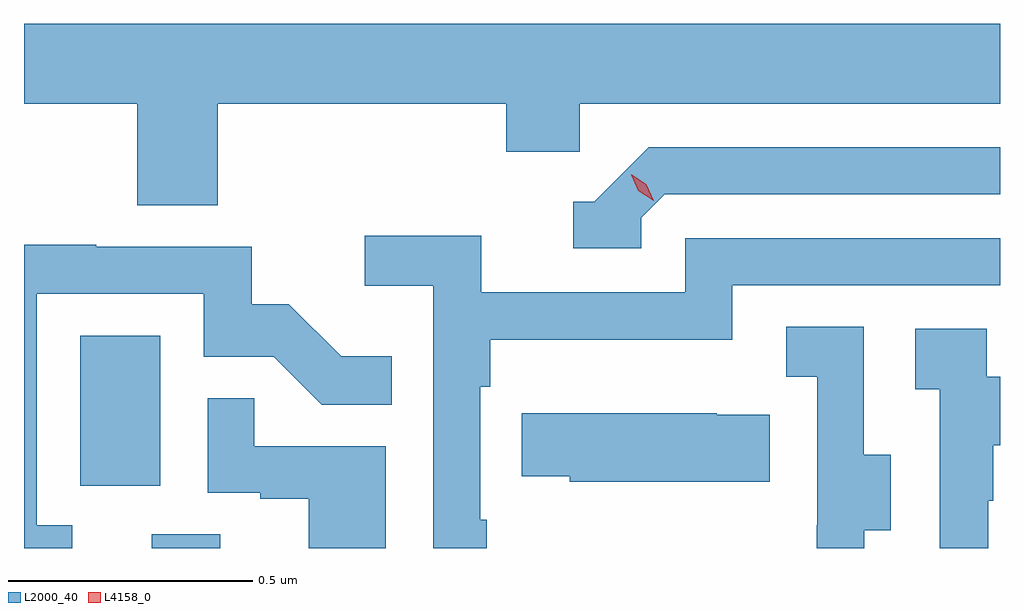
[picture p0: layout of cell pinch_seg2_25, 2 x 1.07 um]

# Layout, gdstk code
import gdstk
lib = gdstk.Library(unit=1e-6, precision=1e-09)
def R(c, l, rs):  # rectangles x0, y0, x1, y1
    for r in rs: c.add(gdstk.rectangle(r[:2], r[2:], *l))
def P(c, l, *ps):  # polygons
    for p in ps: c.add(gdstk.Polygon(p, *l))
L2000_40 = (2000, 40)
L4158_0 = (4158, 0)

pinch_seg2_25 = lib.new_cell('pinch_seg2_25')
R(pinch_seg2_25, L2000_40, [(1103.417,649.39,1103.557,649.418), (1103.27,649.518,1103.434,649.825)])
P(pinch_seg2_25, L2000_40, [(1103.552,650.3),(1104.143,650.3),(1104.143,650.202),(1104.294,650.202),(1104.294,650.3),(1105.155,650.3),(1105.155,650.464),(1103.155,650.464),(1103.155,650.3),(1103.387,650.3),(1103.387,650.092),(1103.552,650.092)],
  [(1104.42,650.067),(1104.468,650.115),(1105.155,650.115),(1105.155,650.211),(1104.435,650.211),(1104.324,650.1),(1104.281,650.1),(1104.281,650.004),(1104.42,650.004)],
  [(1104.103,649.448),(1104.09,649.448),(1104.09,649.721),(1104.11,649.721),(1104.11,649.817),(1104.606,649.817),(1104.606,649.929),(1105.155,649.929),(1105.155,650.025),(1104.51,650.025),(1104.51,649.914),(1104.092,649.914),(1104.092,650.03),(1103.853,650.03),(1103.853,649.928),(1103.994,649.928),(1103.994,649.39),(1104.103,649.39)],
  [(1103.254,649.437),(1103.181,649.437),(1103.181,649.911),(1103.523,649.911),(1103.523,649.782),(1103.667,649.782),(1103.765,649.684),(1103.909,649.684),(1103.909,649.783),(1103.805,649.783),(1103.698,649.89),(1103.622,649.89),(1103.622,650.007),(1103.303,650.007),(1103.303,650.012),(1103.155,650.012),(1103.155,649.39),(1103.254,649.39)],
  [(1104.877,649.426),(1104.931,649.426),(1104.931,649.581),(1104.876,649.581),(1104.876,649.844),(1104.717,649.844),(1104.717,649.741),(1104.78,649.741),(1104.78,649.437),(1104.779,649.437),(1104.779,649.39),(1104.877,649.39)],
  [(1105.131,649.487),(1105.141,649.487),(1105.141,649.601),(1105.155,649.601),(1105.155,649.741),(1105.128,649.741),(1105.128,649.839),(1104.981,649.839),(1104.981,649.715),(1105.032,649.715),(1105.032,649.39),(1105.131,649.39)],
  [(1103.896,649.599),(1103.627,649.599),(1103.627,649.697),(1103.532,649.697),(1103.532,649.503),(1103.639,649.503),(1103.639,649.491),(1103.738,649.491),(1103.738,649.39),(1103.896,649.39)],
  [(1104.683,649.663),(1104.575,649.663),(1104.575,649.666),(1104.175,649.666),(1104.175,649.537),(1104.273,649.537),(1104.273,649.526),(1104.683,649.526)])
P(pinch_seg2_25, L4158_0, [(1104.445,650.102),(1104.414,650.122),(1104.399,650.155),(1104.399,650.155),(1104.4,650.155),(1104.43,650.135),(1104.445,650.102),(1104.445,650.102)])

lib.write_gds('pinch_seg2_25.gds')
